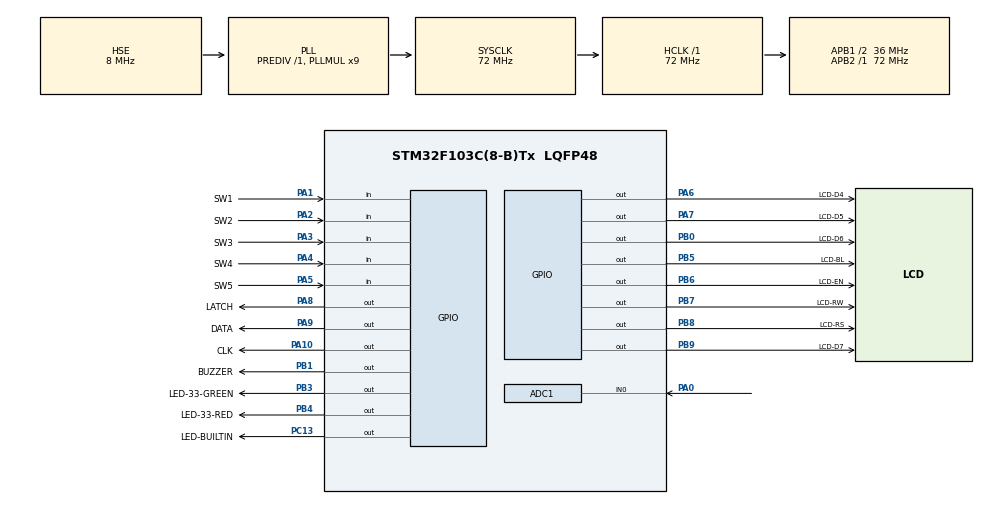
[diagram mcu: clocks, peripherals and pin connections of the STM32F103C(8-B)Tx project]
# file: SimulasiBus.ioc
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ADC1.Channel-1\#ChannelRegularConversion=ADC_CHANNEL_0
ADC1.ContinuousConvMode=DISABLE
ADC1.EnableRegularConversion=ENABLE
ADC1.NbrOfConversion=1
ADC1.NbrOfConversionFlag=1
ADC1.Rank-1\#ChannelRegularConversion=1
ADC1.SamplingTime-1\#ChannelRegularConversion=ADC_SAMPLETIME_28CYCLES_5
ADC1.master=1
Mcu.Family=STM32F1
Mcu.Name=STM32F103C(8-B)Tx
Mcu.Package=LQFP48
NVIC.PriorityGroup=NVIC_PRIORITYGROUP_4
NVIC.TIM4_IRQn=true\:0\:0\:false\:false\:true\:true\:true
PA0-WKUP.GPIO_Mode=GPIO_MODE_ANALOG
PA0-WKUP.Signal=ADCx_IN0
PA1.GPIO_Label=SW1
PA1.GPIO_PuPd=GPIO_PULLUP
PA1.Signal=GPIO_Input
PA10.GPIO_Label=CLK
PA10.GPIO_Speed=GPIO_SPEED_FREQ_MEDIUM
PA10.Signal=GPIO_Output
PA13.Mode=Serial_Wire
PA13.Signal=SYS_JTMS-SWDIO
PA14.Mode=Serial_Wire
PA14.Signal=SYS_JTCK-SWCLK
PA2.GPIO_Label=SW2
PA2.GPIO_PuPd=GPIO_PULLUP
PA2.Signal=GPIO_Input
PA3.GPIO_Label=SW3
PA3.GPIO_PuPd=GPIO_PULLUP
PA3.Signal=GPIO_Input
PA4.GPIO_Label=SW4
PA4.GPIO_PuPd=GPIO_PULLUP
PA4.Signal=GPIO_Input
PA5.GPIO_Label=SW5
PA5.GPIO_PuPd=GPIO_PULLUP
PA5.Signal=GPIO_Input
PA6.GPIO_Label=LCD-D4
PA6.GPIO_Speed=GPIO_SPEED_FREQ_MEDIUM
PA6.Signal=GPIO_Output
PA7.GPIO_Label=LCD-D5
PA7.GPIO_Speed=GPIO_SPEED_FREQ_MEDIUM
PA7.Signal=GPIO_Output
PA8.GPIO_Label=LATCH
PA8.GPIO_Speed=GPIO_SPEED_FREQ_MEDIUM
PA8.Signal=GPIO_Output
PA9.GPIO_Label=DATA
PA9.GPIO_Speed=GPIO_SPEED_FREQ_MEDIUM
PA9.Signal=GPIO_Output
PB0.GPIO_Label=LCD-D6
PB0.GPIO_Speed=GPIO_SPEED_FREQ_MEDIUM
PB0.Signal=GPIO_Output
PB1.GPIO_Label=BUZZER
PB1.Signal=GPIO_Output
PB3.GPIO_Label=LED-33-GREEN
PB3.PinState=GPIO_PIN_SET
PB3.Signal=GPIO_Output
PB4.GPIO_Label=LED-33-RED
PB4.PinState=GPIO_PIN_SET
PB4.Signal=GPIO_Output
PB5.GPIO_Label=LCD-BL
PB5.Signal=GPIO_Output
PB6.GPIO_Label=LCD-EN
PB6.GPIO_Speed=GPIO_SPEED_FREQ_MEDIUM
PB6.Signal=GPIO_Output
PB7.GPIO_Label=LCD-RW
PB7.Signal=GPIO_Output
PB8.GPIO_Label=LCD-RS
PB8.GPIO_Speed=GPIO_SPEED_FREQ_MEDIUM
PB8.Signal=GPIO_Output
PB9.GPIO_Label=LCD-D7
PB9.GPIO_Speed=GPIO_SPEED_FREQ_MEDIUM
PB9.Signal=GPIO_Output
PC13-TAMPER-RTC.GPIO_Label=LED-BUILTIN
PC13-TAMPER-RTC.GPIO_Speed=GPIO_SPEED_FREQ_MEDIUM
PC13-TAMPER-RTC.PinState=GPIO_PIN_SET
PC13-TAMPER-RTC.Signal=GPIO_Output
PD0-OSC_IN.Mode=HSE-External-Oscillator
PD0-OSC_IN.Signal=RCC_OSC_IN
PD1-OSC_OUT.Mode=HSE-External-Oscillator
PD1-OSC_OUT.Signal=RCC_OSC_OUT
ProjectManager.HeapSize=0x200
ProjectManager.StackSize=0x400
ProjectManager.TargetToolchain=STM32CubeIDE
RCC.ADCPresc=RCC_ADCPCLK2_DIV6
RCC.AHBFreq_Value=72000000
RCC.APB1CLKDivider=RCC_HCLK_DIV2
RCC.APB1Freq_Value=36000000
RCC.APB1TimFreq_Value=72000000
RCC.APB2Freq_Value=72000000
RCC.APB2TimFreq_Value=72000000
RCC.HCLKFreq_Value=72000000
RCC.PLLMUL=RCC_PLL_MUL9
RCC.PLLSourceVirtual=RCC_PLLSOURCE_HSE
RCC.SYSCLKFreq_VALUE=72000000
RCC.SYSCLKSource=RCC_SYSCLKSOURCE_PLLCLK
RCC.USBFreq_Value=72000000
SH.ADCx_IN0.0=ADC1_IN0,IN0
TIM4.AutoReloadPreload=TIM_AUTORELOAD_PRELOAD_DISABLE
TIM4.Period=999
TIM4.Prescaler=7199
TIM4.TIM_MasterOutputTrigger=TIM_TRGO_UPDATE
VP_TIM4_VS_ClockSourceINT.Mode=Internal
board=custom

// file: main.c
/* USER CODE BEGIN Header */
/**
  ******************************************************************************
  * @file           : main.c
  * @brief          : Main program body
  ******************************************************************************
  * @attention
  *
  * Copyright (c) 2023 STMicroelectronics.
  * All rights reserved.
  *
  * This software is licensed under terms that can be found in the LICENSE file
  * in the root directory of this software component.
  * If no LICENSE file comes with this software, it is provided AS-IS.
  *
  ******************************************************************************
  */
/* USER CODE END Header */
#include "main.h"

/* USER CODE BEGIN Includes */
#include <stdbool.h>
#include "lcd.h"
#include "shift_register.h"
/* USER CODE END Includes */

/* USER CODE BEGIN PTD */
Lcd_PortType lcd_port[] = {
	LCD_D4_GPIO_Port, LCD_D5_GPIO_Port, LCD_D6_GPIO_Port, LCD_D7_GPIO_Port
};

Lcd_PinType lcd_pin[] = {
	LCD_D4_Pin, LCD_D5_Pin, LCD_D6_Pin, LCD_D7_Pin
};
/* USER CODE END PTD */

ADC_HandleTypeDef hadc1;

TIM_HandleTypeDef htim4;

/* USER CODE BEGIN PV */

// ----- static data -----

// nama jurusan
static char* jurusan[2] = {
	"UNNES", "UNDIP"
};

// nama halte
static char* halte[9] = {
	"RSND",
	"Rusunawa",
	"Polines",
	"Kesatrian",
	"Kagok",
	"Elizabet",
	"Park UNNES",
	"BNI UNNES",
	"UNNES",
};

// nama status
static char* status[2] = {
	"On The Way",
	"In Transit"
};

// data check poin berisi status dan halte selanjutnya untuk setiap check point
static const uint8_t check_point[2][16][2] = {
	{
			{1,8},{1,7},{0,6},{0,6},{1,6},{0,5},{1,5},{0,4},{1,4},{0,3},{1,3},{1,2},{0,1},{1,1},{0,0},{1,0}
	},
	{
			{1,0},{0,1},{1,1},{0,2},{1,2},{1,3},{0,4},{1,4},{0,5},{1,5},{0,6},{1,6},{0,7},{0,7},{1,7},{1,8}
	}
};

// ----- public variables -----

// peripheral data holder
bool latch_sw1 = false;
bool latch_sw2 = false;
bool latch_sw3 = false;
bool latch_sw4 = false;
bool latch_sw5 = false;

bool is_waiting = false;
bool is_editing = false;
bool bus_is_here = false;

bool screen_refresh = true;

// index menu
uint8_t page_now = 0;
uint8_t cursor_index = 0;
uint8_t jurusan_index = 0, halte_index = 0;

// bus parameter
uint8_t traffic_speed = 0;
uint8_t bus_a_pos = 0, bus_b_pos = 0;

// task tick holder
uint32_t btn_sw5_last_tick = 0;
uint32_t bus_a_last_tick = 0, bus_b_last_tick = 0;
uint32_t waiting_blink_last_tick = 0;
uint32_t bus_is_here_last_tick = 0;

/* USER CODE END PV */

void SystemClock_Config(void);
static void MX_GPIO_Init(void);
static void MX_ADC1_Init(void);
static void MX_TIM4_Init(void);
/* USER CODE BEGIN PFP */

// ----- helper function -----
void set_bus_position(uint16_t busA, uint16_t busB);
uint16_t read_adc(void);
int map(int value, int minSrc, int maxSrc, int minDst, int maxDst);

// ----- task -----
void button_task(void);
void screen1_task(void);
void screen2_task(void);
void screen3_task(void);
void bus_check_point_task(uint16_t speed);
uint8_t speed_check_task(void);

/* USER CODE END PFP */

int main(void)
{

  /* MCU Configuration--------------------------------------------------------*/

  /* Reset of all peripherals, Initializes the Flash interface and the Systick. */
  HAL_Init();

  /* Configure the system clock */
  SystemClock_Config();

  /* Initialize all configured peripherals */
  MX_GPIO_Init();
  MX_ADC1_Init();
  MX_TIM4_Init();
  /* USER CODE BEGIN 2 */

  HAL_TIM_Base_Start_IT(&htim4);

  Lcd_create(lcd_port, lcd_pin, LCD_RS_GPIO_Port, LCD_RS_Pin, LCD_EN_GPIO_Port, LCD_EN_Pin, LCD_4_BIT_MODE);
  Register_create(CLK_GPIO_Port, CLK_Pin, DATA_GPIO_Port, DATA_Pin, LATCH_GPIO_Port, LATCH_Pin);

  // nyalakan backlight lcd
  HAL_GPIO_WritePin(LCD_BL_GPIO_Port, LCD_BL_Pin, GPIO_PIN_SET);

  // tanda test program
  if(HAL_GPIO_ReadPin(SW5_GPIO_Port, SW5_Pin) == GPIO_PIN_RESET)
  {
	  Lcd_cursor(0, 0);
	  Lcd_string("[TEST PROGRAM]    V1");
	  Lcd_cursor(2, 0);
	  Lcd_string("UJI COBA LKS JATENG ");
	  Lcd_cursor(3, 0);
	  Lcd_string("DEMAK 2023");

	  while(1);
  }

  // splash screen
  Lcd_cursor(0, 3);
  Lcd_string("SELAMAT DATANG");
  Lcd_cursor(2, 4);
  Lcd_string("TRANS JATENG");
  Lcd_cursor(3, 1);
  Lcd_string("SIAP MELAYANI ANDA");

  // seting posisi bus
  set_bus_position(0, 0);

  // tunggu 3 detik
  HAL_Delay(3000);
  Lcd_clear();

  // ambil nilai awal untuk setiap tick
  bus_a_last_tick = HAL_GetTick();
  bus_b_last_tick = HAL_GetTick();
  waiting_blink_last_tick = HAL_GetTick();

  /* USER CODE END 2 */

  /* Infinite loop */
  /* USER CODE BEGIN WHILE */
  while (1)
  {

	  // refresh layar setiap ada perintah
	  if(screen_refresh == true)
	  {
		  // bersihkan layar
		  Lcd_clear();

		  // tampilkan layar menurut screen yang aktif
		  switch (page_now)
		  {
		  	  case 0 :
		  		  screen1_task();
			  break;

		  	  case 1 :
		  		  screen2_task();
			  break;

		  	  case 2 :
		  		  screen3_task();
		  	  break;
		  }

		  // disable refresh layar
		  screen_refresh = false;
	  }

	  // led blink jika ada penumpang menunggu
	  if(is_waiting == true)
	  {
		  // matikan led merah
		  HAL_GPIO_WritePin(LED_33_RED_GPIO_Port, LED_33_RED_Pin, GPIO_PIN_SET);

		  // toggle led hijau setiap 500ms
		  if(HAL_GetTick() - waiting_blink_last_tick >= 500)
		  {
			  HAL_GPIO_TogglePin(LED_33_GREEN_GPIO_Port, LED_33_GREEN_Pin);
			  waiting_blink_last_tick = HAL_GetTick();
		  }
	  }
	  else
	  {
		  // nyalakan led merah
		  HAL_GPIO_WritePin(LED_33_RED_GPIO_Port, LED_33_RED_Pin, GPIO_PIN_RESET);
	  }

	  // notifikasi bus telah tiba. jika sudah lewat 1.5 detik maka matikan
	  if(bus_is_here == true && (HAL_GetTick() - bus_is_here_last_tick) >= 1500)
	  {
		  HAL_GPIO_WritePin(LED_33_GREEN_GPIO_Port, LED_33_GREEN_Pin, GPIO_PIN_SET);
		  HAL_GPIO_WritePin(LED_33_RED_GPIO_Port, LED_33_RED_Pin, GPIO_PIN_RESET);

		  // matikan buzzer
		  HAL_GPIO_WritePin(BUZZER_GPIO_Port, BUZZER_Pin, GPIO_PIN_RESET);

		  // matikan notifikasi dan refresh layar
		  bus_is_here = false;
		  screen_refresh = true;
	  }

	  // notifikasi bus telah tiba dan masih aktif
	  else if(bus_is_here == true)
	  {
		  HAL_GPIO_WritePin(LED_33_GREEN_GPIO_Port, LED_33_GREEN_Pin, GPIO_PIN_RESET);

		  // nyalakan buzzer
		  HAL_GPIO_WritePin(BUZZER_GPIO_Port, BUZZER_Pin, GPIO_PIN_SET);

		  // tampilkan notifikasi di layar
		  Lcd_cursor(1, 6);
		  Lcd_string("SILAHKAN");
		  Lcd_cursor(2, 4);
		  Lcd_string("MEMASUKI BUS");

		  // hapus penumpang yang menunggu
		  is_waiting = false;
	  }

	  // task untuk baca tombol
	  button_task();

	  // task untuk mengatur kecepatan bus
	  traffic_speed = speed_check_task();

	  // task untuk update check point
	  bus_check_point_task(traffic_speed);

    /* USER CODE END WHILE */

  }
}

void SystemClock_Config(void)
{
  RCC_OscInitTypeDef RCC_OscInitStruct = {0};
  RCC_ClkInitTypeDef RCC_ClkInitStruct = {0};
  RCC_PeriphCLKInitTypeDef PeriphClkInit = {0};

  /** Initializes the RCC Oscillators according to the specified parameters
  * in the RCC_OscInitTypeDef structure.
  */
  RCC_OscInitStruct.OscillatorType = RCC_OSCILLATORTYPE_HSE;
  RCC_OscInitStruct.HSEState = RCC_HSE_ON;
  RCC_OscInitStruct.HSEPredivValue = RCC_HSE_PREDIV_DIV1;
  RCC_OscInitStruct.HSIState = RCC_HSI_ON;
  RCC_OscInitStruct.PLL.PLLState = RCC_PLL_ON;
  RCC_OscInitStruct.PLL.PLLSource = RCC_PLLSOURCE_HSE;
  RCC_OscInitStruct.PLL.PLLMUL = RCC_PLL_MUL9;
  if (HAL_RCC_OscConfig(&RCC_OscInitStruct) != HAL_OK)
  {
    Error_Handler();
  }
  /** Initializes the CPU, AHB and APB buses clocks
  */
  RCC_ClkInitStruct.ClockType = RCC_CLOCKTYPE_HCLK|RCC_CLOCKTYPE_SYSCLK
                              |RCC_CLOCKTYPE_PCLK1|RCC_CLOCKTYPE_PCLK2;
  RCC_ClkInitStruct.SYSCLKSource = RCC_SYSCLKSOURCE_PLLCLK;
  RCC_ClkInitStruct.AHBCLKDivider = RCC_SYSCLK_DIV1;
  RCC_ClkInitStruct.APB1CLKDivider = RCC_HCLK_DIV2;
  RCC_ClkInitStruct.APB2CLKDivider = RCC_HCLK_DIV1;

  if (HAL_RCC_ClockConfig(&RCC_ClkInitStruct, FLASH_LATENCY_2) != HAL_OK)
  {
    Error_Handler();
  }
  PeriphClkInit.PeriphClockSelection = RCC_PERIPHCLK_ADC;
  PeriphClkInit.AdcClockSelection = RCC_ADCPCLK2_DIV6;
  if (HAL_RCCEx_PeriphCLKConfig(&PeriphClkInit) != HAL_OK)
  {
    Error_Handler();
  }
}

static void MX_ADC1_Init(void)
{

  ADC_ChannelConfTypeDef sConfig = {0};

  /** Common config
  */
  hadc1.Instance = ADC1;
  hadc1.Init.ScanConvMode = ADC_SCAN_DISABLE;
  hadc1.Init.ContinuousConvMode = DISABLE;
  hadc1.Init.DiscontinuousConvMode = DISABLE;
  hadc1.Init.ExternalTrigConv = ADC_SOFTWARE_START;
  hadc1.Init.DataAlign = ADC_DATAALIGN_RIGHT;
  hadc1.Init.NbrOfConversion = 1;
  if (HAL_ADC_Init(&hadc1) != HAL_OK)
  {
    Error_Handler();
  }
  /** Configure Regular Channel
  */
  sConfig.Channel = ADC_CHANNEL_0;
  sConfig.Rank = ADC_REGULAR_RANK_1;
  sConfig.SamplingTime = ADC_SAMPLETIME_28CYCLES_5;
  if (HAL_ADC_ConfigChannel(&hadc1, &sConfig) != HAL_OK)
  {
    Error_Handler();
  }

}

static void MX_TIM4_Init(void)
{

  TIM_ClockConfigTypeDef sClockSourceConfig = {0};
  TIM_MasterConfigTypeDef sMasterConfig = {0};

  htim4.Instance = TIM4;
  htim4.Init.Prescaler = 7199;
  htim4.Init.CounterMode = TIM_COUNTERMODE_UP;
  htim4.Init.Period = 999;
  htim4.Init.ClockDivision = TIM_CLOCKDIVISION_DIV1;
  htim4.Init.AutoReloadPreload = TIM_AUTORELOAD_PRELOAD_DISABLE;
  if (HAL_TIM_Base_Init(&htim4) != HAL_OK)
  {
    Error_Handler();
  }
  sClockSourceConfig.ClockSource = TIM_CLOCKSOURCE_INTERNAL;
  if (HAL_TIM_ConfigClockSource(&htim4, &sClockSourceConfig) != HAL_OK)
  {
    Error_Handler();
  }
  sMasterConfig.MasterOutputTrigger = TIM_TRGO_UPDATE;
  sMasterConfig.MasterSlaveMode = TIM_MASTERSLAVEMODE_DISABLE;
  if (HAL_TIMEx_MasterConfigSynchronization(&htim4, &sMasterConfig) != HAL_OK)
  {
    Error_Handler();
  }

}

static void MX_GPIO_Init(void)
{
  GPIO_InitTypeDef GPIO_InitStruct = {0};

  /* GPIO Ports Clock Enable */
  __HAL_RCC_GPIOC_CLK_ENABLE();
  __HAL_RCC_GPIOD_CLK_ENABLE();
  __HAL_RCC_GPIOA_CLK_ENABLE();
  __HAL_RCC_GPIOB_CLK_ENABLE();

  /*Configure GPIO pin Output Level */
  HAL_GPIO_WritePin(LED_BUILTIN_GPIO_Port, LED_BUILTIN_Pin, GPIO_PIN_SET);

  /*Configure GPIO pin Output Level */
  HAL_GPIO_WritePin(GPIOA, LCD_D4_Pin|LCD_D5_Pin|LATCH_Pin|DATA_Pin
                          |CLK_Pin, GPIO_PIN_RESET);

  /*Configure GPIO pin Output Level */
  HAL_GPIO_WritePin(GPIOB, LCD_D6_Pin|BUZZER_Pin|LCD_BL_Pin|LCD_EN_Pin
                          |LCD_RW_Pin|LCD_RS_Pin|LCD_D7_Pin, GPIO_PIN_RESET);

  /*Configure GPIO pin Output Level */
  HAL_GPIO_WritePin(GPIOB, LED_33_GREEN_Pin|LED_33_RED_Pin, GPIO_PIN_SET);

  /*Configure GPIO pin : LED_BUILTIN_Pin */
  GPIO_InitStruct.Pin = LED_BUILTIN_Pin;
  GPIO_InitStruct.Mode = GPIO_MODE_OUTPUT_PP;
  GPIO_InitStruct.Pull = GPIO_NOPULL;
  GPIO_InitStruct.Speed = GPIO_SPEED_FREQ_MEDIUM;
  HAL_GPIO_Init(LED_BUILTIN_GPIO_Port, &GPIO_InitStruct);

  /*Configure GPIO pins : SW1_Pin SW2_Pin SW3_Pin SW4_Pin
                           SW5_Pin */
  GPIO_InitStruct.Pin = SW1_Pin|SW2_Pin|SW3_Pin|SW4_Pin
                          |SW5_Pin;
  GPIO_InitStruct.Mode = GPIO_MODE_INPUT;
  GPIO_InitStruct.Pull = GPIO_PULLUP;
  HAL_GPIO_Init(GPIOA, &GPIO_InitStruct);

  /*Configure GPIO pins : LCD_D4_Pin LCD_D5_Pin LATCH_Pin DATA_Pin
                           CLK_Pin */
  GPIO_InitStruct.Pin = LCD_D4_Pin|LCD_D5_Pin|LATCH_Pin|DATA_Pin
                          |CLK_Pin;
  GPIO_InitStruct.Mode = GPIO_MODE_OUTPUT_PP;
  GPIO_InitStruct.Pull = GPIO_NOPULL;
  GPIO_InitStruct.Speed = GPIO_SPEED_FREQ_MEDIUM;
  HAL_GPIO_Init(GPIOA, &GPIO_InitStruct);

  /*Configure GPIO pins : LCD_D6_Pin LCD_EN_Pin LCD_RS_Pin LCD_D7_Pin */
  GPIO_InitStruct.Pin = LCD_D6_Pin|LCD_EN_Pin|LCD_RS_Pin|LCD_D7_Pin;
  GPIO_InitStruct.Mode = GPIO_MODE_OUTPUT_PP;
  GPIO_InitStruct.Pull = GPIO_NOPULL;
  GPIO_InitStruct.Speed = GPIO_SPEED_FREQ_MEDIUM;
  HAL_GPIO_Init(GPIOB, &GPIO_InitStruct);

  /*Configure GPIO pins : BUZZER_Pin LED_33_GREEN_Pin LED_33_RED_Pin LCD_BL_Pin
                           LCD_RW_Pin */
  GPIO_InitStruct.Pin = BUZZER_Pin|LED_33_GREEN_Pin|LED_33_RED_Pin|LCD_BL_Pin
                          |LCD_RW_Pin;
  GPIO_InitStruct.Mode = GPIO_MODE_OUTPUT_PP;
  GPIO_InitStruct.Pull = GPIO_NOPULL;
  GPIO_InitStruct.Speed = GPIO_SPEED_FREQ_LOW;
  HAL_GPIO_Init(GPIOB, &GPIO_InitStruct);

}

/* USER CODE BEGIN 4 */

// helper seting posisi bus
void set_bus_position(uint16_t busA, uint16_t busB)
{
	// buffer data shift register
	uint8_t buffer[4];

	// hitung posisi bus dan masukkan ke buffer
	buffer[0] = (busB >= 8) ? ~ (0x01 << (busB - 8)) : 0xff;
	buffer[1] = ~ (0x01 << busB);

	buffer[2] = (busA >= 8) ? ~ (0x01 << (busA - 8)) : 0xff;
	buffer[3] = ~ (0x01 << busA);

	// kirim ke check point
	Register_send(buffer, 4);
}

// helper baca adc
uint16_t read_adc(void)
{
	HAL_ADC_Start(&hadc1);
	HAL_ADC_PollForConversion(&hadc1, 100);
	uint16_t data_adc = HAL_ADC_GetValue(&hadc1);
	HAL_ADC_Stop(&hadc1);

	return data_adc;
}

// helper mapping nilai
int map(int value, int minSrc, int maxSrc, int minDst, int maxDst)
{
    int rangeSrc = maxSrc - minSrc;
    int rangeDst = maxDst - minDst;
    int scaled = (value - minSrc) * rangeDst / rangeSrc + minDst;

    return scaled;
}

// task untuk screen 1
void screen1_task(void)
{
	// tampilkan label
	Lcd_cursor(0, 0);
	Lcd_string("[Koridor VII]");
	Lcd_cursor(0, 15);
	Lcd_string(jurusan[page_now]);
	Lcd_cursor(2, 0);
	Lcd_string("Status:");
	Lcd_cursor(3, 0);
	Lcd_string("Halte :");

	// tampilkan status dan halte
	Lcd_cursor(2, 8);
	Lcd_string(status[check_point[1][bus_b_pos][0]]);
	Lcd_cursor(3, 8);
	Lcd_string("           ");
	Lcd_cursor(3, 8);
	Lcd_string(halte[check_point[1][bus_b_pos][1]]);
}

// task screen 2
void screen2_task(void)
{
	// tampilkan label
	Lcd_cursor(0, 0);
	Lcd_string("[Koridor VI]");
	Lcd_cursor(0, 15);
	Lcd_string(jurusan[page_now]);
	Lcd_cursor(2, 0);
	Lcd_string("Status:");
	Lcd_cursor(3, 0);
	Lcd_string("Halte :");

	// tampilkan status dan halte
	Lcd_cursor(2, 8);
	Lcd_string(status[check_point[0][bus_a_pos][0]]);
	Lcd_cursor(3, 8);
	Lcd_string("           ");
	Lcd_cursor(3, 8);
	Lcd_string(halte[check_point[0][bus_a_pos][1]]);
}

// task screen 3
void screen3_task(void)
{
	// tampilkan label
	Lcd_cursor(0, 0);
	Lcd_string("[TUNGGU BUS]");

	Lcd_cursor(2, 0);
	Lcd_string("Bus Ke:");
	Lcd_cursor(3, 0);
	Lcd_string("Halte :");

	// tampilkan menu
	if(is_editing == false)
	{

		// tampilkan jurusna dan halte
		Lcd_cursor(2, 8);
		Lcd_string(jurusan[jurusan_index]);
		Lcd_cursor(3, 8);
		Lcd_string(halte[halte_index]);

		// tampilkan cursor jika tidak ada penumpang yang menunggu
		if(is_waiting == false)
		{
			Lcd_cursor(cursor_index + 2, 19);
			Lcd_string("<");
		}

		// tampilkan label tunggu
		else
		{
			Lcd_cursor(0, 14);
			Lcd_string("TUNGGU");
		}
	}

	// tampilkan edit parameter
	else
	{
		// cursor posisi edit jurusan
		if(cursor_index == 0)
		{
			// tampilkan jurusan
			Lcd_cursor(2, 8);
			Lcd_string("[");
			Lcd_string(jurusan[jurusan_index]);
			Lcd_cursor(2, 9 + strlen(jurusan[jurusan_index]));
			Lcd_string("]");

			// tampilkan halte
			Lcd_cursor(3, 8);
			Lcd_string(halte[halte_index]);
		}

		// cursor posisi edit halte
		else
		{
			// tampilkan halte
			Lcd_cursor(3, 8);
			Lcd_string("[");
			Lcd_string(halte[halte_index]);
			Lcd_cursor(3, 9 + strlen(halte[halte_index]));
			Lcd_string("]");

			// tampilkan jurusan
			Lcd_cursor(2, 8);
			Lcd_string(jurusan[jurusan_index]);
		}
	}
}

// task untuk membaca tombol
void button_task(void)
{
	// sw1 ditekan
	if(HAL_GPIO_ReadPin(SW1_GPIO_Port, SW1_Pin) == GPIO_PIN_RESET && latch_sw1 == false)
	{
		// atur layar yang atif
		if(page_now <= 0)
		{
			page_now = 0;
		}
		else
		{
			page_now -= 1;
			screen_refresh = true;
		}

		latch_sw1 = true;
	}

	// sw2 ditekan
	else if(HAL_GPIO_ReadPin(SW2_GPIO_Port, SW2_Pin) == GPIO_PIN_RESET && latch_sw2 == false)
	{
		// atur layar yang aktif
		if(page_now >= 2)
		{
			page_now = 2;
		}
		else
		{
			page_now += 1;
			screen_refresh = true;
		}

		latch_sw2 = true;
	}

	// sw3 ditekan
	else if(HAL_GPIO_ReadPin(SW3_GPIO_Port, SW3_Pin) == GPIO_PIN_RESET && latch_sw3 == false)
	{
		// jika edit parameter
		if(is_editing)
		{
			// edit jurusan
			if(cursor_index == 0)
			{
				jurusan_index = (jurusan_index >= 1) ? 1 : jurusan_index + 1;
			}
			// edit halte
			else
			{
				halte_index = (halte_index >= 8) ? 8 : halte_index + 1;
			}
		}

		// atur cursor menu
		else
		{
			cursor_index = 0;
		}

		screen_refresh = true;
		latch_sw3 = true;
	}

	// sw4 ditekan
	else if(HAL_GPIO_ReadPin(SW4_GPIO_Port, SW4_Pin) == GPIO_PIN_RESET && latch_sw4 == false)
	{
		if(is_editing)
		{
			if(cursor_index == 0)
			{
				jurusan_index = (jurusan_index <= 0) ? 0 : jurusan_index - 1;
			}
			else
			{
				halte_index = (halte_index <= 0) ? 0 : halte_index - 1;
			}
		}
		else
		{
			cursor_index = 1;
		}

		screen_refresh = true;
		latch_sw4 = true;
	}

	// sw5 ditekan
	else if(HAL_GPIO_ReadPin(SW5_GPIO_Port, SW5_Pin) == GPIO_PIN_RESET && latch_sw5 == false)
	{
		// masuk atau keluar menu edit
		if(is_waiting == false)
		{
			is_editing = (is_editing) ? false : true;

			btn_sw5_last_tick = HAL_GetTick();
			screen_refresh = true;
		}

		latch_sw5 = true;
	}

	// reset pins condition on release
	if(HAL_GPIO_ReadPin(SW1_GPIO_Port, SW1_Pin) == GPIO_PIN_SET && latch_sw1 == true)
	{
		latch_sw1 = false;
	}
	else if(HAL_GPIO_ReadPin(SW2_GPIO_Port, SW2_Pin) == GPIO_PIN_SET && latch_sw2 == true)
	{
		latch_sw2 = false;
	}
	else if(HAL_GPIO_ReadPin(SW3_GPIO_Port, SW3_Pin) == GPIO_PIN_SET && latch_sw3 == true)
	{
		latch_sw3 = false;
	}
	else if(HAL_GPIO_ReadPin(SW4_GPIO_Port, SW4_Pin) == GPIO_PIN_SET && latch_sw4 == true)
	{
		latch_sw4 = false;
	}
	else if(HAL_GPIO_ReadPin(SW5_GPIO_Port, SW5_Pin) == GPIO_PIN_SET && latch_sw5 == true)
	{
		latch_sw5 = false;
	}

	if(latch_sw5 == true && is_waiting == false)
	{
		// jika sw5 dilepas setelah 1 detik
		if(HAL_GetTick() - btn_sw5_last_tick >= 1000)
		{
			// tambahkan penumpang sedang menunggu
			is_waiting = true;
			is_editing = false;

			screen_refresh = true;
		}
	}
}

void bus_check_point_task(uint16_t speed)
{
	// increment check point untuk bus B
	if(HAL_GetTick() - bus_b_last_tick >= (100 / speed) * 1000)
	{
		bus_b_pos = (bus_b_pos >= 15) ? 0 : bus_b_pos + 1;
		set_bus_position(bus_a_pos, bus_b_pos);

		// tampilkan status label
		if(page_now == 0)
		{
			Lcd_cursor(2, 8);
			Lcd_string(status[check_point[1][bus_b_pos][0]]);
			Lcd_cursor(3, 8);
			Lcd_string("           ");
			Lcd_cursor(3, 8);
			Lcd_string(halte[check_point[1][bus_b_pos][1]]);
		}

		// cek penumpang yang sedang menunggu
		if(is_waiting == true && jurusan_index == 0 && check_point[1][bus_b_pos][0] == 1 && check_point[1][bus_b_pos][1] == halte_index)
		{
			bus_is_here_last_tick = HAL_GetTick();
			Lcd_clear();
			bus_is_here = true;
		}

		bus_b_last_tick = HAL_GetTick();
	}

	// increment check point untuk bus A -25kmph dari bus B
	if(HAL_GetTick() - bus_a_last_tick >= (125 / (float) speed) * 1000)
	{
		bus_a_pos = (bus_a_pos >= 15) ? 0 : bus_a_pos + 1;
		set_bus_position(bus_a_pos, bus_b_pos);

		if(page_now == 1)
		{
			Lcd_cursor(2, 8);
			Lcd_string(status[check_point[0][bus_a_pos][0]]);
			Lcd_cursor(3, 8);
			Lcd_string("           ");
			Lcd_cursor(3, 8);
			Lcd_string(halte[check_point[0][bus_a_pos][1]]);
		}

		// cek penumpang
		if(is_waiting == true && jurusan_index == 1 && check_point[0][bus_a_pos][0] == 1 && check_point[0][bus_a_pos][1] == halte_index)
		{
			bus_is_here_last_tick = HAL_GetTick();
			Lcd_clear();
			bus_is_here = true;
		}

		bus_a_last_tick = HAL_GetTick();
	}
}

// helper atur kecepatan bus
uint8_t speed_check_task(void)
{
	uint16_t data_adc = read_adc();
	return map(data_adc, 0, 4095, 1, 100);
}

void HAL_TIM_PeriodElapsedCallback(TIM_HandleTypeDef* htim)
{
	if (htim->Instance == TIM4)
	{
		HAL_GPIO_TogglePin(LED_BUILTIN_GPIO_Port, LED_BUILTIN_Pin);
	}
}

/* USER CODE END 4 */

void Error_Handler(void)
{
  __disable_irq();
  while (1)
  {
  }
}
